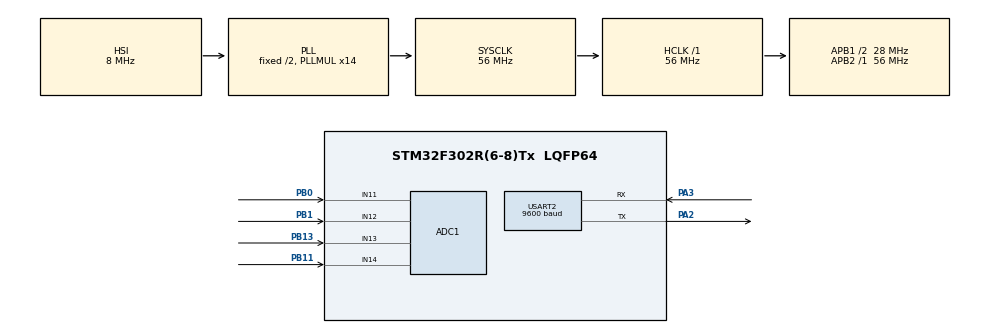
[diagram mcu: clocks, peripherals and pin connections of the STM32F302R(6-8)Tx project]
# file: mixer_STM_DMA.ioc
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ADC1.Channel-0\#ChannelRegularConversion=ADC_CHANNEL_11
ADC1.Channel-1\#ChannelRegularConversion=ADC_CHANNEL_12
ADC1.Channel-2\#ChannelRegularConversion=ADC_CHANNEL_13
ADC1.Channel-3\#ChannelRegularConversion=ADC_CHANNEL_14
ADC1.ContinuousConvMode=ENABLE
ADC1.DMAContinuousRequests=ENABLE
ADC1.EOCSelection=ADC_EOC_SEQ_CONV
ADC1.NbrOfConversion=4
ADC1.NbrOfConversionFlag=1
ADC1.Offset-0\#ChannelRegularConversion=0
ADC1.Offset-1\#ChannelRegularConversion=0
ADC1.Offset-2\#ChannelRegularConversion=0
ADC1.Offset-3\#ChannelRegularConversion=0
ADC1.OffsetNumber-0\#ChannelRegularConversion=ADC_OFFSET_NONE
ADC1.OffsetNumber-1\#ChannelRegularConversion=ADC_OFFSET_NONE
ADC1.OffsetNumber-2\#ChannelRegularConversion=ADC_OFFSET_NONE
ADC1.OffsetNumber-3\#ChannelRegularConversion=ADC_OFFSET_NONE
ADC1.Rank-0\#ChannelRegularConversion=1
ADC1.Rank-1\#ChannelRegularConversion=2
ADC1.Rank-2\#ChannelRegularConversion=3
ADC1.Rank-3\#ChannelRegularConversion=4
ADC1.SamplingTime-0\#ChannelRegularConversion=ADC_SAMPLETIME_1CYCLE_5
ADC1.SamplingTime-1\#ChannelRegularConversion=ADC_SAMPLETIME_1CYCLE_5
ADC1.SamplingTime-2\#ChannelRegularConversion=ADC_SAMPLETIME_1CYCLE_5
ADC1.SamplingTime-3\#ChannelRegularConversion=ADC_SAMPLETIME_1CYCLE_5
ADC1.SamplingTimeOPAMP-1\#ChannelRegularConversion=ADC_SAMPLETIME_61CYCLES_5
ADC1.SamplingTimeOPAMP-2\#ChannelRegularConversion=ADC_SAMPLETIME_61CYCLES_5
ADC1.SamplingTimeOPAMP-3\#ChannelRegularConversion=ADC_SAMPLETIME_61CYCLES_5
ADC1.master=1
Dma.ADC1.0.Direction=DMA_PERIPH_TO_MEMORY
Dma.ADC1.0.Instance=DMA1_Channel1
Dma.ADC1.0.MemDataAlignment=DMA_MDATAALIGN_HALFWORD
Dma.ADC1.0.MemInc=DMA_MINC_ENABLE
Dma.ADC1.0.Mode=DMA_CIRCULAR
Dma.ADC1.0.PeriphDataAlignment=DMA_PDATAALIGN_HALFWORD
Dma.ADC1.0.PeriphInc=DMA_PINC_DISABLE
Dma.ADC1.0.Priority=DMA_PRIORITY_LOW
Dma.Request0=ADC1
Mcu.Family=STM32F3
Mcu.Name=STM32F302R(6-8)Tx
Mcu.Package=LQFP64
NVIC.DMA1_Channel1_IRQn=true\:1\:1\:true\:false\:true\:false\:true\:true
NVIC.PriorityGroup=NVIC_PRIORITYGROUP_1
NVIC.TIM1_UP_TIM16_IRQn=true\:1\:0\:true\:false\:true\:true\:true\:true
PA2.Mode=Asynchronous
PA2.Signal=USART2_TX
PA3.Mode=Asynchronous
PA3.Signal=USART2_RX
PB0.Mode=IN11-Single-Ended
PB0.Signal=ADC1_IN11
PB1.Mode=IN12-Single-Ended
PB1.Signal=ADC1_IN12
PB11.Mode=IN14-Single-Ended
PB11.Signal=ADC1_IN14
PB13.Mode=IN13-Single-Ended
PB13.Signal=ADC1_IN13
PF0-OSC_IN.Mode=HSE-External-Oscillator
PF0-OSC_IN.Signal=RCC_OSC_IN
PF1-OSC_OUT.Mode=HSE-External-Oscillator
PF1-OSC_OUT.Signal=RCC_OSC_OUT
ProjectManager.HeapSize=0x200
ProjectManager.StackSize=0x400
ProjectManager.TargetToolchain=STM32CubeIDE
RCC.ADC12PRES=RCC_ADC1PLLCLK_DIV4
RCC.AHBFreq_Value=56000000
RCC.APB1CLKDivider=RCC_HCLK_DIV2
RCC.APB1Freq_Value=28000000
RCC.APB1TimFreq_Value=56000000
RCC.APB2Freq_Value=56000000
RCC.APB2TimFreq_Value=56000000
RCC.CortexFreq_Value=56000000
RCC.HCLKFreq_Value=56000000
RCC.HSE_VALUE=8000000
RCC.HSI_VALUE=8000000
RCC.PLLM=8
RCC.PLLMUL=RCC_PLL_MUL14
RCC.PLLN=336
RCC.PLLP=RCC_PLLP_DIV4
RCC.PLLQ=7
RCC.RCC_PLLsource_Clock_Source_FROM_HSE=RCC_HSE_PREDIV_DIV2
RCC.SYSCLKFreq_VALUE=56000000
RCC.SYSCLKSourceVirtual=RCC_SYSCLKSOURCE_PLLCLK
RCC.USBFreq_Value=56000000
TIM16.Period=55999
USART2.BaudRate=9600
USART2.Mode=MODE_TX
USART2.VirtualMode-Asynchronous=VM_ASYNC
VP_TIM16_VS_ClockSourceINT.Mode=Enable_Timer
board=NUCLEO-F302R8

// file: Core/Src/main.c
/* USER CODE BEGIN Header */
/**
  ******************************************************************************
  * @file           : main.c
  * @brief          : Main program body
  ******************************************************************************
  * @attention
  *
  * Copyright (c) 2024 STMicroelectronics.
  * All rights reserved.
  *
  * This software is licensed under terms that can be found in the LICENSE file
  * in the root directory of this software component.
  * If no LICENSE file comes with this software, it is provided AS-IS.
  *
  ******************************************************************************
  */
//MIXER_STM_DMA
/* USER CODE END Header */
#include "main.h"

/* USER CODE BEGIN Includes */
#include "math.h"

/* USER CODE END Includes */

/* USER CODE BEGIN PTD */
typedef struct{
  float alpha;
  float outputs[4];
} EMA;

/* USER CODE END PTD */

/* USER CODE BEGIN PD */
#define BUF_SIZE 4
#define PERCENTAGE_ACCURACY 5
#define COM_STRING_LEN 20

/* USER CODE END PD */

ADC_HandleTypeDef hadc1;
DMA_HandleTypeDef hdma_adc1;

TIM_HandleTypeDef htim16;

UART_HandleTypeDef huart2;

/* USER CODE BEGIN PV */
uint16_t adc_dma_buf[BUF_SIZE] = {0};
char message[50];
char send_buf[20];
float pots[BUF_SIZE] = {0};
float percents[BUF_SIZE] = {0};
EMA filter = {0.25, {0}};

/* USER CODE END PV */

void SystemClock_Config(void);
static void MX_GPIO_Init(void);
static void MX_DMA_Init(void);
static void MX_USART2_UART_Init(void);
static void MX_ADC1_Init(void);
static void MX_TIM16_Init(void);

/* USER CODE BEGIN 0 */
float filter_read(EMA *filter, float input, int index){
	filter->outputs[index] = filter->alpha * input + (1.0 - filter->alpha) * filter->outputs[index];
	return filter->outputs[index];
}

float format_read(float read) {
	float read_percent = (read/4095)*100;
 	int read_mod = (int)(read_percent) % PERCENTAGE_ACCURACY;
 	read_percent = floor(read_percent - read_mod)/100;
 	return read_percent;
}

void send_string(char s[]){
	sprintf(send_buf,s);
	HAL_UART_Transmit(&huart2, &send_buf, COM_STRING_LEN, 50);
}

void HAL_TIM_PeriodElapsedCallback(TIM_HandleTypeDef *htim){
	 for(int i = 0; i < BUF_SIZE; i++){
		 pots[i] = filter_read(&filter, (float)adc_dma_buf[i], i);
		 percents[i] = format_read(pots[i]);
	 }
	 sprintf(message, "%.2f|%.2f|%.2f|%.2f\n", percents[0], percents[1], percents[2], percents[3]);
	 send_string(message);
	 HAL_TIM_Base_Start_IT(&htim16);
}

/* USER CODE END 0 */

int main(void)
{

  /* MCU Configuration--------------------------------------------------------*/

  /* Reset of all peripherals, Initializes the Flash interface and the Systick. */
  HAL_Init();

  /* Configure the system clock */
  SystemClock_Config();

  /* Initialize all configured peripherals */
  MX_GPIO_Init();
  MX_DMA_Init();
  MX_USART2_UART_Init();
  MX_ADC1_Init();
  MX_TIM16_Init();
  /* USER CODE BEGIN 2 */
  HAL_TIM_Base_Start_IT(&htim16);
  HAL_ADC_Start_DMA(&hadc1, &adc_dma_buf, BUF_SIZE);

  /* USER CODE END 2 */

  /* Infinite loop */
  while (1)
  {

}
}

void SystemClock_Config(void)
{
  RCC_OscInitTypeDef RCC_OscInitStruct = {0};
  RCC_ClkInitTypeDef RCC_ClkInitStruct = {0};
  RCC_PeriphCLKInitTypeDef PeriphClkInit = {0};

  /** Initializes the RCC Oscillators according to the specified parameters
  * in the RCC_OscInitTypeDef structure.
  */
  RCC_OscInitStruct.OscillatorType = RCC_OSCILLATORTYPE_HSI;
  RCC_OscInitStruct.HSIState = RCC_HSI_ON;
  RCC_OscInitStruct.HSICalibrationValue = RCC_HSICALIBRATION_DEFAULT;
  RCC_OscInitStruct.PLL.PLLState = RCC_PLL_ON;
  RCC_OscInitStruct.PLL.PLLSource = RCC_PLLSOURCE_HSI;
  RCC_OscInitStruct.PLL.PLLMUL = RCC_PLL_MUL14;
  if (HAL_RCC_OscConfig(&RCC_OscInitStruct) != HAL_OK)
  {
    Error_Handler();
  }

  /** Initializes the CPU, AHB and APB buses clocks
  */
  RCC_ClkInitStruct.ClockType = RCC_CLOCKTYPE_HCLK|RCC_CLOCKTYPE_SYSCLK
                              |RCC_CLOCKTYPE_PCLK1|RCC_CLOCKTYPE_PCLK2;
  RCC_ClkInitStruct.SYSCLKSource = RCC_SYSCLKSOURCE_PLLCLK;
  RCC_ClkInitStruct.AHBCLKDivider = RCC_SYSCLK_DIV1;
  RCC_ClkInitStruct.APB1CLKDivider = RCC_HCLK_DIV2;
  RCC_ClkInitStruct.APB2CLKDivider = RCC_HCLK_DIV1;

  if (HAL_RCC_ClockConfig(&RCC_ClkInitStruct, FLASH_LATENCY_2) != HAL_OK)
  {
    Error_Handler();
  }
  PeriphClkInit.PeriphClockSelection = RCC_PERIPHCLK_TIM16|RCC_PERIPHCLK_ADC1;
  PeriphClkInit.Tim16ClockSelection = RCC_TIM16CLK_HCLK;
  PeriphClkInit.Adc1ClockSelection = RCC_ADC1PLLCLK_DIV4;

  if (HAL_RCCEx_PeriphCLKConfig(&PeriphClkInit) != HAL_OK)
  {
    Error_Handler();
  }
}

static void MX_ADC1_Init(void)
{

  ADC_ChannelConfTypeDef sConfig = {0};

  /** Common config
  */
  hadc1.Instance = ADC1;
  hadc1.Init.ClockPrescaler = ADC_CLOCK_ASYNC_DIV1;
  hadc1.Init.Resolution = ADC_RESOLUTION_12B;
  hadc1.Init.ScanConvMode = ADC_SCAN_ENABLE;
  hadc1.Init.ContinuousConvMode = ENABLE;
  hadc1.Init.DiscontinuousConvMode = DISABLE;
  hadc1.Init.ExternalTrigConvEdge = ADC_EXTERNALTRIGCONVEDGE_NONE;
  hadc1.Init.ExternalTrigConv = ADC_SOFTWARE_START;
  hadc1.Init.DataAlign = ADC_DATAALIGN_RIGHT;
  hadc1.Init.NbrOfConversion = 4;
  hadc1.Init.DMAContinuousRequests = ENABLE;
  hadc1.Init.EOCSelection = ADC_EOC_SEQ_CONV;
  hadc1.Init.LowPowerAutoWait = DISABLE;
  hadc1.Init.Overrun = ADC_OVR_DATA_OVERWRITTEN;
  if (HAL_ADC_Init(&hadc1) != HAL_OK)
  {
    Error_Handler();
  }

  /** Configure Regular Channel
  */
  sConfig.Channel = ADC_CHANNEL_11;
  sConfig.Rank = ADC_REGULAR_RANK_1;
  sConfig.SingleDiff = ADC_SINGLE_ENDED;
  sConfig.SamplingTime = ADC_SAMPLETIME_1CYCLE_5;
  sConfig.OffsetNumber = ADC_OFFSET_NONE;
  sConfig.Offset = 0;
  if (HAL_ADC_ConfigChannel(&hadc1, &sConfig) != HAL_OK)
  {
    Error_Handler();
  }

  /** Configure Regular Channel
  */
  sConfig.Channel = ADC_CHANNEL_12;
  sConfig.Rank = ADC_REGULAR_RANK_2;
  if (HAL_ADC_ConfigChannel(&hadc1, &sConfig) != HAL_OK)
  {
    Error_Handler();
  }

  /** Configure Regular Channel
  */
  sConfig.Channel = ADC_CHANNEL_13;
  sConfig.Rank = ADC_REGULAR_RANK_3;
  if (HAL_ADC_ConfigChannel(&hadc1, &sConfig) != HAL_OK)
  {
    Error_Handler();
  }

  /** Configure Regular Channel
  */
  sConfig.Channel = ADC_CHANNEL_14;
  sConfig.Rank = ADC_REGULAR_RANK_4;
  if (HAL_ADC_ConfigChannel(&hadc1, &sConfig) != HAL_OK)
  {
    Error_Handler();
  }

}

static void MX_TIM16_Init(void)
{

  htim16.Instance = TIM16;
  htim16.Init.Prescaler = 0;
  htim16.Init.CounterMode = TIM_COUNTERMODE_UP;
  htim16.Init.Period = 55999;
  htim16.Init.ClockDivision = TIM_CLOCKDIVISION_DIV1;
  htim16.Init.RepetitionCounter = 0;
  htim16.Init.AutoReloadPreload = TIM_AUTORELOAD_PRELOAD_DISABLE;
  if (HAL_TIM_Base_Init(&htim16) != HAL_OK)
  {
    Error_Handler();
  }

}

static void MX_USART2_UART_Init(void)
{

  huart2.Instance = USART2;
  huart2.Init.BaudRate = 9600;
  huart2.Init.WordLength = UART_WORDLENGTH_8B;
  huart2.Init.StopBits = UART_STOPBITS_1;
  huart2.Init.Parity = UART_PARITY_NONE;
  huart2.Init.Mode = UART_MODE_TX;
  huart2.Init.HwFlowCtl = UART_HWCONTROL_NONE;
  huart2.Init.OverSampling = UART_OVERSAMPLING_16;
  huart2.Init.OneBitSampling = UART_ONE_BIT_SAMPLE_DISABLE;
  huart2.AdvancedInit.AdvFeatureInit = UART_ADVFEATURE_NO_INIT;
  if (HAL_UART_Init(&huart2) != HAL_OK)
  {
    Error_Handler();
  }

}

static void MX_DMA_Init(void)
{

  /* DMA controller clock enable */
  __HAL_RCC_DMA1_CLK_ENABLE();

  /* DMA interrupt init */
  /* DMA1_Channel1_IRQn interrupt configuration */
  HAL_NVIC_SetPriority(DMA1_Channel1_IRQn, 1, 1);
  HAL_NVIC_EnableIRQ(DMA1_Channel1_IRQn);

}

static void MX_GPIO_Init(void)
{

  /* GPIO Ports Clock Enable */
  __HAL_RCC_GPIOF_CLK_ENABLE();
  __HAL_RCC_GPIOA_CLK_ENABLE();
  __HAL_RCC_GPIOB_CLK_ENABLE();

}

void Error_Handler(void)
{
  __disable_irq();
  while (1)
  {
  }
}
